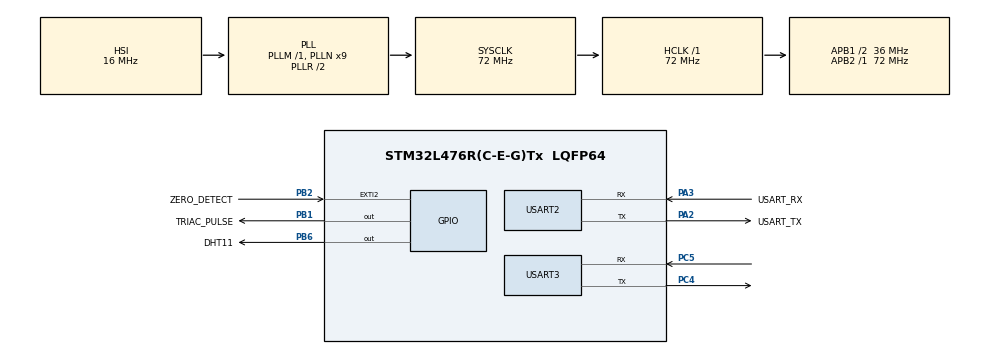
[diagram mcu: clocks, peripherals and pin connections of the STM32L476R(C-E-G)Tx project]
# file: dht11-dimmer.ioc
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Mcu.Family=STM32L4
Mcu.Name=STM32L476R(C-E-G)Tx
Mcu.Package=LQFP64
NVIC.EXTI2_IRQn=true\:0\:0\:false\:false\:true\:true\:true\:true
NVIC.PriorityGroup=NVIC_PRIORITYGROUP_4
NVIC.TIM2_IRQn=true\:0\:0\:false\:false\:true\:true\:true\:true
NVIC.USART2_IRQn=true\:0\:0\:false\:false\:true\:true\:true\:true
NVIC.USART3_IRQn=true\:0\:0\:false\:false\:true\:true\:true\:true
PA13\ (JTMS-SWDIO).GPIO_Label=TMS
PA13\ (JTMS-SWDIO).Mode=Serial_Wire
PA13\ (JTMS-SWDIO).Signal=SYS_JTMS-SWDIO
PA14\ (JTCK-SWCLK).GPIO_Label=TCK
PA14\ (JTCK-SWCLK).Mode=Serial_Wire
PA14\ (JTCK-SWCLK).Signal=SYS_JTCK-SWCLK
PA2.GPIO_Label=USART_TX
PA2.GPIO_Mode=GPIO_MODE_AF_PP
PA2.GPIO_PuPd=GPIO_NOPULL
PA2.GPIO_Speed=GPIO_SPEED_FREQ_VERY_HIGH
PA2.Mode=Asynchronous
PA2.Signal=USART2_TX
PA3.GPIO_Label=USART_RX
PA3.GPIO_Mode=GPIO_MODE_AF_PP
PA3.GPIO_PuPd=GPIO_NOPULL
PA3.GPIO_Speed=GPIO_SPEED_FREQ_VERY_HIGH
PA3.Mode=Asynchronous
PA3.Signal=USART2_RX
PB1.GPIO_Label=TRIAC_PULSE
PB1.GPIO_Speed=GPIO_SPEED_FREQ_MEDIUM
PB1.Signal=GPIO_Output
PB2.GPIO_Label=ZERO_DETECT
PB2.GPIO_PuPd=GPIO_PULLUP
PB2.Signal=GPXTI2
PB3\ (JTDO-TRACESWO).GPIO_Label=SWO
PB3\ (JTDO-TRACESWO).Signal=SYS_JTDO-SWO
PB6.GPIO_Label=DHT11
PB6.Signal=GPIO_Output
PC14-OSC32_IN\ (PC14).Mode=LSE-External-Oscillator
PC14-OSC32_IN\ (PC14).Signal=RCC_OSC32_IN
PC15-OSC32_OUT\ (PC15).Mode=LSE-External-Oscillator
PC15-OSC32_OUT\ (PC15).Signal=RCC_OSC32_OUT
PC4.Mode=Asynchronous
PC4.Signal=USART3_TX
PC5.Mode=Asynchronous
PC5.Signal=USART3_RX
PH0-OSC_IN\ (PH0).Mode=HSE-External-Oscillator
PH0-OSC_IN\ (PH0).Signal=RCC_OSC_IN
PH1-OSC_OUT\ (PH1).Mode=HSE-External-Oscillator
PH1-OSC_OUT\ (PH1).Signal=RCC_OSC_OUT
ProjectManager.HeapSize=0x200
ProjectManager.StackSize=0x400
ProjectManager.TargetToolchain=CMake
RCC.ADCFreq_Value=64000000
RCC.AHBFreq_Value=72000000
RCC.APB1CLKDivider=RCC_HCLK_DIV2
RCC.APB1Freq_Value=36000000
RCC.APB1TimFreq_Value=72000000
RCC.APB2Freq_Value=72000000
RCC.APB2TimFreq_Value=72000000
RCC.CortexFreq_Value=72000000
RCC.HCLKFreq_Value=72000000
RCC.HSE_VALUE=8000000
RCC.HSI_VALUE=16000000
RCC.MSI_VALUE=4000000
RCC.PLLN=9
RCC.PLLSourceVirtual=RCC_PLLSOURCE_HSI
RCC.PREFETCH_ENABLE=1
RCC.SYSCLKFreq_VALUE=72000000
RCC.SYSCLKSource=RCC_SYSCLKSOURCE_PLLCLK
RCC.USBFreq_Value=64000000
RCC.VCOOutputFreq_Value=144000000
TIM1.Prescaler=71
TIM2.Period=99
TIM2.Prescaler=71
USART2.VirtualMode-Asynchronous=VM_ASYNC
USART3.VirtualMode-Asynchronous=VM_ASYNC
VP_TIM1_VS_ClockSourceINT.Mode=Internal
VP_TIM2_VS_ClockSourceINT.Mode=Internal
board=NUCLEO-L476RG

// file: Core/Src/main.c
/* USER CODE BEGIN Header */
/**
  ******************************************************************************
  * @file           : main.c
  * @brief          : Main program body
  ******************************************************************************
  * @attention
  *
  * Copyright (c) 2025 STMicroelectronics.
  * All rights reserved.
  *
  * This software is licensed under terms that can be found in the LICENSE file
  * in the root directory of this software component.
  * If no LICENSE file comes with this software, it is provided AS-IS.
  *
  ******************************************************************************
  */
/* USER CODE END Header */
#include "main.h"

/* USER CODE BEGIN Includes */
#include "dimmer.h"
#include "DHT11.h"
/* USER CODE END Includes */

TIM_HandleTypeDef htim1;
TIM_HandleTypeDef htim2;

UART_HandleTypeDef huart2;
UART_HandleTypeDef huart3;

void SystemClock_Config(void);
static void MX_GPIO_Init(void);
static void MX_TIM1_Init(void);
static void MX_TIM2_Init(void);
static void MX_USART2_UART_Init(void);
static void MX_USART3_UART_Init(void);
/* USER CODE BEGIN PFP */
/* Callback de la interrupción del timer (cada 100 µs) */
void HAL_TIM_PeriodElapsedCallback(TIM_HandleTypeDef *htim)
{
  if(htim->Instance == TIM2)
  {
    Dimmer_TIM_PeriodElapsedCallback(htim);
  }

}

/* Callback de la interrupción externa (EXTI) para el cruce por cero */
void HAL_GPIO_EXTI_Callback(uint16_t GPIO_Pin)
{
  if(GPIO_Pin == ZERO_DETECT_Pin)
  {
    Dimmer_GPIO_EXTI_Callback();
  }
}

uint8_t rx_data;   // Variable para recibir un byte por USART2
void HAL_UART_RxCpltCallback(UART_HandleTypeDef *huart)
{
  if(huart->Instance == USART2)
  {
    // Recibe un byte por USART2
    Dimmer_UART_RxCpltCallback(huart, rx_data);
    // Continúa la recepción por interrupción
    HAL_UART_Receive_IT(&huart2, (uint8_t *)&rx_data, 1);
  }

}

/* USER CODE END PFP */

int main(void)
{

  /* MCU Configuration--------------------------------------------------------*/

  /* Reset of all peripherals, Initializes the Flash interface and the Systick. */
  HAL_Init();

  /* USER CODE BEGIN Init */
  Dimmer_Init();  // Inicializa las variables internas del módulo
  /* USER CODE END Init */

  /* Configure the system clock */
  SystemClock_Config();

  /* Initialize all configured peripherals */
  MX_GPIO_Init();
  MX_TIM1_Init();
  MX_TIM2_Init();
  MX_USART2_UART_Init();
  MX_USART3_UART_Init();
  /* USER CODE BEGIN 2 */
  HAL_TIM_Base_Start_IT(&htim2);
  HAL_TIM_Base_Start_IT(&htim1);

  uint32_t previousTick = HAL_GetTick();
  char strCopy[20];
  DHT11_Data dhtData;
  float tCelsius, tFahrenheit;

  /* Inicia la recepción en USART2 por interrupción (1 byte) */
  HAL_UART_Receive_IT(&huart2, (uint8_t *)&rx_data, 1);

  /* Enviar mensaje inicial vía USART2 */
  char *msg = "Ingresa un valor de dim (0 a 9):\r\n";
  HAL_UART_Transmit(&huart2, (uint8_t *)msg, strlen(msg), 100);
  /* USER CODE END 2 */

  /* Infinite loop */
  /* USER CODE BEGIN WHILE */
  while (1)
  {

    if (HAL_GetTick() - previousTick >= 2000)
    {
      previousTick = HAL_GetTick();

      if (DHT11_ReadData(&dhtData))
      {

        tCelsius = dhtData.temp_int + dhtData.temp_dec / 10.0f;
        tFahrenheit = tCelsius * 9.0f / 5.0f + 32;

        sprintf(strCopy, "%d.%d C\r\n", dhtData.temp_int, dhtData.temp_dec);
        HAL_UART_Transmit(&huart2, (uint8_t *)strCopy, strlen(strCopy), 1000);

        uint8_t TFI = (uint8_t)tFahrenheit;
        uint8_t TFD = (uint8_t)((tFahrenheit - TFI) * 10);
        sprintf(strCopy, "%d.%d F\r\n", TFI, TFD);
        HAL_UART_Transmit(&huart2, (uint8_t *)strCopy, strlen(strCopy), 1000);

        sprintf(strCopy, "%d.%d %%\r\n", dhtData.humidity_int, dhtData.humidity_dec);
        HAL_UART_Transmit(&huart2, (uint8_t *)strCopy, strlen(strCopy), 1000);
      }
      else
      {
        sprintf(strCopy, "Error\r\n");
        HAL_UART_Transmit(&huart2, (uint8_t *)strCopy, strlen(strCopy), 1000);
      }
    }

    /* USER CODE END WHILE */

  }
}

void SystemClock_Config(void)
{
  RCC_OscInitTypeDef RCC_OscInitStruct = {0};
  RCC_ClkInitTypeDef RCC_ClkInitStruct = {0};

  /** Configure the main internal regulator output voltage
  */
  if (HAL_PWREx_ControlVoltageScaling(PWR_REGULATOR_VOLTAGE_SCALE1) != HAL_OK)
  {
    Error_Handler();
  }

  /** Initializes the RCC Oscillators according to the specified parameters
  * in the RCC_OscInitTypeDef structure.
  */
  RCC_OscInitStruct.OscillatorType = RCC_OSCILLATORTYPE_HSI;
  RCC_OscInitStruct.HSIState = RCC_HSI_ON;
  RCC_OscInitStruct.HSICalibrationValue = RCC_HSICALIBRATION_DEFAULT;
  RCC_OscInitStruct.PLL.PLLState = RCC_PLL_ON;
  RCC_OscInitStruct.PLL.PLLSource = RCC_PLLSOURCE_HSI;
  RCC_OscInitStruct.PLL.PLLM = 1;
  RCC_OscInitStruct.PLL.PLLN = 9;
  RCC_OscInitStruct.PLL.PLLP = RCC_PLLP_DIV7;
  RCC_OscInitStruct.PLL.PLLQ = RCC_PLLQ_DIV2;
  RCC_OscInitStruct.PLL.PLLR = RCC_PLLR_DIV2;
  if (HAL_RCC_OscConfig(&RCC_OscInitStruct) != HAL_OK)
  {
    Error_Handler();
  }

  /** Initializes the CPU, AHB and APB buses clocks
  */
  RCC_ClkInitStruct.ClockType = RCC_CLOCKTYPE_HCLK|RCC_CLOCKTYPE_SYSCLK
                              |RCC_CLOCKTYPE_PCLK1|RCC_CLOCKTYPE_PCLK2;
  RCC_ClkInitStruct.SYSCLKSource = RCC_SYSCLKSOURCE_PLLCLK;
  RCC_ClkInitStruct.AHBCLKDivider = RCC_SYSCLK_DIV1;
  RCC_ClkInitStruct.APB1CLKDivider = RCC_HCLK_DIV2;
  RCC_ClkInitStruct.APB2CLKDivider = RCC_HCLK_DIV1;

  if (HAL_RCC_ClockConfig(&RCC_ClkInitStruct, FLASH_LATENCY_4) != HAL_OK)
  {
    Error_Handler();
  }
}

static void MX_TIM1_Init(void)
{

  TIM_ClockConfigTypeDef sClockSourceConfig = {0};
  TIM_MasterConfigTypeDef sMasterConfig = {0};

  htim1.Instance = TIM1;
  htim1.Init.Prescaler = 71;
  htim1.Init.CounterMode = TIM_COUNTERMODE_UP;
  htim1.Init.Period = 65535;
  htim1.Init.ClockDivision = TIM_CLOCKDIVISION_DIV1;
  htim1.Init.RepetitionCounter = 0;
  htim1.Init.AutoReloadPreload = TIM_AUTORELOAD_PRELOAD_DISABLE;
  if (HAL_TIM_Base_Init(&htim1) != HAL_OK)
  {
    Error_Handler();
  }
  sClockSourceConfig.ClockSource = TIM_CLOCKSOURCE_INTERNAL;
  if (HAL_TIM_ConfigClockSource(&htim1, &sClockSourceConfig) != HAL_OK)
  {
    Error_Handler();
  }
  sMasterConfig.MasterOutputTrigger = TIM_TRGO_RESET;
  sMasterConfig.MasterOutputTrigger2 = TIM_TRGO2_RESET;
  sMasterConfig.MasterSlaveMode = TIM_MASTERSLAVEMODE_DISABLE;
  if (HAL_TIMEx_MasterConfigSynchronization(&htim1, &sMasterConfig) != HAL_OK)
  {
    Error_Handler();
  }

}

static void MX_TIM2_Init(void)
{

  TIM_ClockConfigTypeDef sClockSourceConfig = {0};
  TIM_MasterConfigTypeDef sMasterConfig = {0};

  htim2.Instance = TIM2;
  htim2.Init.Prescaler = 71;
  htim2.Init.CounterMode = TIM_COUNTERMODE_UP;
  htim2.Init.Period = 99;
  htim2.Init.ClockDivision = TIM_CLOCKDIVISION_DIV1;
  htim2.Init.AutoReloadPreload = TIM_AUTORELOAD_PRELOAD_DISABLE;
  if (HAL_TIM_Base_Init(&htim2) != HAL_OK)
  {
    Error_Handler();
  }
  sClockSourceConfig.ClockSource = TIM_CLOCKSOURCE_INTERNAL;
  if (HAL_TIM_ConfigClockSource(&htim2, &sClockSourceConfig) != HAL_OK)
  {
    Error_Handler();
  }
  sMasterConfig.MasterOutputTrigger = TIM_TRGO_RESET;
  sMasterConfig.MasterSlaveMode = TIM_MASTERSLAVEMODE_DISABLE;
  if (HAL_TIMEx_MasterConfigSynchronization(&htim2, &sMasterConfig) != HAL_OK)
  {
    Error_Handler();
  }

}

static void MX_USART2_UART_Init(void)
{

  huart2.Instance = USART2;
  huart2.Init.BaudRate = 115200;
  huart2.Init.WordLength = UART_WORDLENGTH_8B;
  huart2.Init.StopBits = UART_STOPBITS_1;
  huart2.Init.Parity = UART_PARITY_NONE;
  huart2.Init.Mode = UART_MODE_TX_RX;
  huart2.Init.HwFlowCtl = UART_HWCONTROL_NONE;
  huart2.Init.OverSampling = UART_OVERSAMPLING_16;
  huart2.Init.OneBitSampling = UART_ONE_BIT_SAMPLE_DISABLE;
  huart2.AdvancedInit.AdvFeatureInit = UART_ADVFEATURE_NO_INIT;
  if (HAL_UART_Init(&huart2) != HAL_OK)
  {
    Error_Handler();
  }

}

static void MX_USART3_UART_Init(void)
{

  huart3.Instance = USART3;
  huart3.Init.BaudRate = 115200;
  huart3.Init.WordLength = UART_WORDLENGTH_8B;
  huart3.Init.StopBits = UART_STOPBITS_1;
  huart3.Init.Parity = UART_PARITY_NONE;
  huart3.Init.Mode = UART_MODE_TX_RX;
  huart3.Init.HwFlowCtl = UART_HWCONTROL_NONE;
  huart3.Init.OverSampling = UART_OVERSAMPLING_16;
  huart3.Init.OneBitSampling = UART_ONE_BIT_SAMPLE_DISABLE;
  huart3.AdvancedInit.AdvFeatureInit = UART_ADVFEATURE_NO_INIT;
  if (HAL_UART_Init(&huart3) != HAL_OK)
  {
    Error_Handler();
  }

}

static void MX_GPIO_Init(void)
{
  GPIO_InitTypeDef GPIO_InitStruct = {0};

  /* GPIO Ports Clock Enable */
  __HAL_RCC_GPIOC_CLK_ENABLE();
  __HAL_RCC_GPIOH_CLK_ENABLE();
  __HAL_RCC_GPIOA_CLK_ENABLE();
  __HAL_RCC_GPIOB_CLK_ENABLE();

  /*Configure GPIO pin Output Level */
  HAL_GPIO_WritePin(GPIOB, TRIAC_PULSE_Pin|DHT11_Pin, GPIO_PIN_RESET);

  /*Configure GPIO pin : TRIAC_PULSE_Pin */
  GPIO_InitStruct.Pin = TRIAC_PULSE_Pin;
  GPIO_InitStruct.Mode = GPIO_MODE_OUTPUT_PP;
  GPIO_InitStruct.Pull = GPIO_NOPULL;
  GPIO_InitStruct.Speed = GPIO_SPEED_FREQ_MEDIUM;
  HAL_GPIO_Init(TRIAC_PULSE_GPIO_Port, &GPIO_InitStruct);

  /*Configure GPIO pin : ZERO_DETECT_Pin */
  GPIO_InitStruct.Pin = ZERO_DETECT_Pin;
  GPIO_InitStruct.Mode = GPIO_MODE_IT_RISING;
  GPIO_InitStruct.Pull = GPIO_PULLUP;
  HAL_GPIO_Init(ZERO_DETECT_GPIO_Port, &GPIO_InitStruct);

  /*Configure GPIO pin : DHT11_Pin */
  GPIO_InitStruct.Pin = DHT11_Pin;
  GPIO_InitStruct.Mode = GPIO_MODE_OUTPUT_PP;
  GPIO_InitStruct.Pull = GPIO_NOPULL;
  GPIO_InitStruct.Speed = GPIO_SPEED_FREQ_LOW;
  HAL_GPIO_Init(DHT11_GPIO_Port, &GPIO_InitStruct);

  /* EXTI interrupt init*/
  HAL_NVIC_SetPriority(EXTI2_IRQn, 0, 0);
  HAL_NVIC_EnableIRQ(EXTI2_IRQn);

}

void Error_Handler(void)
{
  __disable_irq();
  while (1)
  {
  }
}
